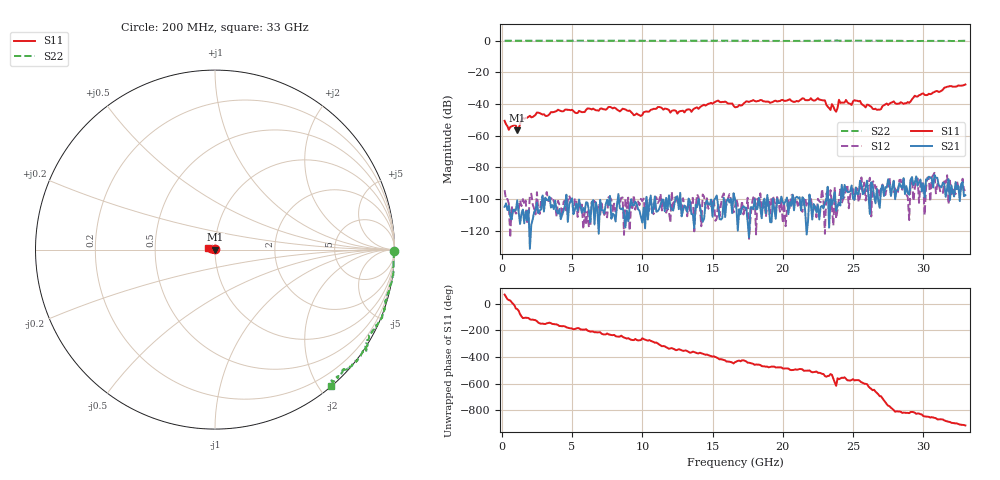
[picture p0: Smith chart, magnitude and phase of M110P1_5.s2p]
# GHZ S RI R 50
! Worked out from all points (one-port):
!   329 points, 200 MHz to 33 GHz, reference 50 ohm
!   lowest |S11| = -56.6 dB at 1.1 GHz (marker M1), VSWR 1.00, Z = 50.1 - j0.0954 ohm
!   |S11| at or under -10 dB: start of sweep to end of sweep
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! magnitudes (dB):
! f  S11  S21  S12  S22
! 200 MHz  -50.6  -105.0  -94.4  0.0
! 500 MHz  -56.3  -104.1  -103.0  0.0
! 900 MHz  -53.2  -107.5  -106.7  0.0
! 1.1 GHz  -56.6  -100.9  -108.9  0.0
! 1.5 GHz  -48.8  -106.7  -100.1  0.0
! 2.5 GHz  -45.4  -102.2  -95.7  0.0
! 5.7 GHz  -45.2  -108.8  -103.5  0.0
! 7.7 GHz  -41.9  -98.1  -98.9  0.0
! 9.9 GHz  -47.5  -111.2  -99.9  0.0
! 11.2 GHz  -41.9  -106.3  -101.2  -0.1
! 12.5 GHz  -46.1  -98.3  -101.7  -0.1
! 15.4 GHz  -37.8  -104.6  -102.6  0.0
! 16.6 GHz  -42.1  -100.2  -104.9  0.0
! 17.9 GHz  -37.6  -106.6  -99.0  0.0
! 22.1 GHz  -37.4  -113.1  -105.8  -0.1
! 23 GHz  -37.7  -102.1  -122.0  0.0
! 23.8 GHz  -44.9  -107.5  -112.5  0.1
! 24 GHz  -37.4  -102.6  -99.9  0.0
! 25.5 GHz  -38.1  -88.5  -98.7  0.0
! 26.7 GHz  -43.7  -93.6  -92.3  0.0
! 27.6 GHz  -39.8  -90.6  -86.5  0.0
! 33 GHz  -27.7  -97.6  -94.3  0.0
